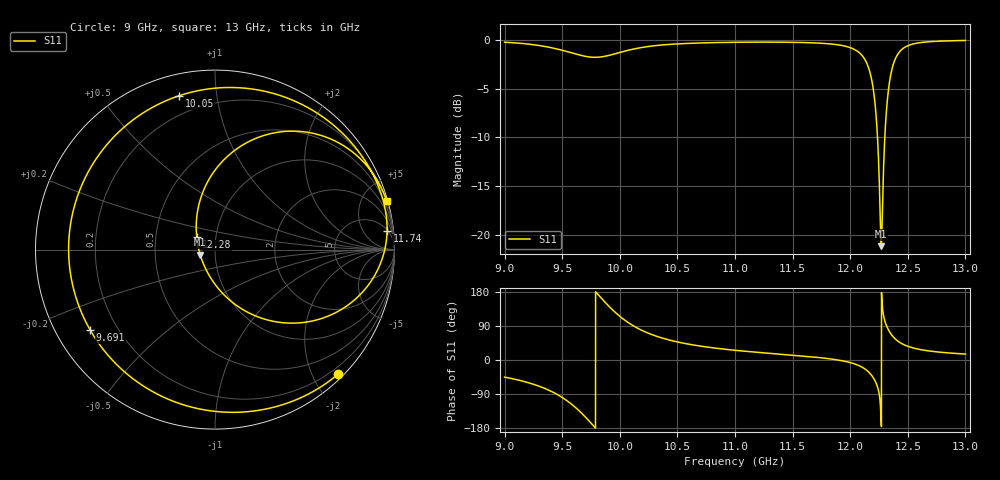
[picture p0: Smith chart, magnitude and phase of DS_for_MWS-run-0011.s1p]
! TOUCHSTONE file generated by CST DESIGN STUDIO
! Date and time: Tue Feb  4 17:57:39 2025
! Project name: C:\Work\MatlabApps\UnitCellOptimizationMatlab\CST\unitcell.cst
! Tree item: Tasks\Sweep1\SPara1\S-Parameters
! Header version: 2024
! Port assignment regex: !\s*Touchstone port\s*([0-9]+)\s*=\s*(CST MWS port|CST DES external port|CST DES block port)\s*(.+)\s* \(\"(.*)\"\)(\s*mode\s*([0-9]+))?.*
! Touchstone port assignment:
! Touchstone port 1 = CST DES external port 1 ("")
# GHz S MA R 50
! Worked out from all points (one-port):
!   4001 points, 9 GHz to 13 GHz, reference 50 ohm
!   lowest |S11| = -21.2 dB at 12.27 GHz (marker M1), VSWR 1.19, Z = 42.3 - j2.43 ohm
!   |S11| at or under -10 dB: 12.24 GHz to 12.3 GHz (63.44 MHz wide, 0.517 % of centre)
!   S11 on the Smith chart (normalised r, x): 9 GHz: 0.08, -2.40; 9.691 GHz: 0.10, -0.29; 10.05 GHz: 0.10, +0.79; 11.74 GHz: 6, +17; 12.28 GHz: 0.81, +0.11; 13 GHz: 0.11, +7.22
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9  0.9752 -45.2
9.273  0.9427 -66.3
9.5  0.8866 -98.9
9.599  0.8542 -121.1
9.691  0.8274 -147.2
9.764  0.8163 -171.1
9.832  0.8187 165.7
9.92  0.8383 137.3
10  0.8638 115.2
10.052  0.8804 103.1
10.259  0.9291 69.3
10.5  0.956 47.7
11  0.9744 25.6
11.5  0.9741 12.7
11.739  0.9642 6.1
12  0.9146 -6.8
12.111  0.8222 -20.3
12.186  0.6272 -40.6
12.229  0.3784 -64.0
12.257  0.1507 -101.6
12.269  0.08716 -160.9
12.278  0.1229 145.9
12.311  0.4045 93.7
12.346  0.6341 72.3
12.416  0.8515 49.3
12.5  0.9357 36.2
12.67  0.9793 24.5
13  0.9958 15.8
